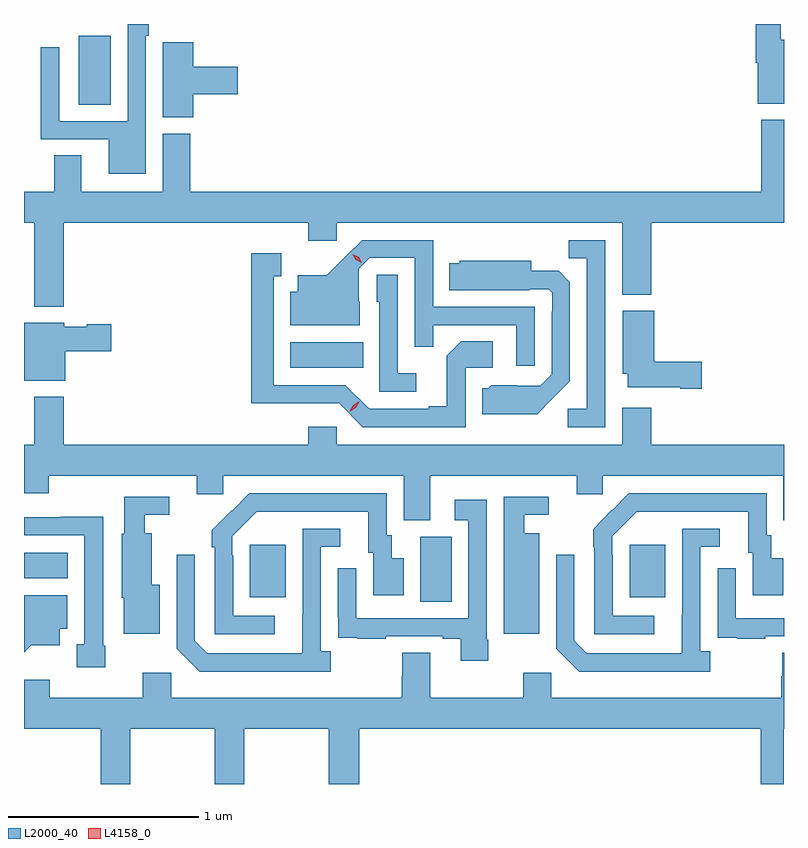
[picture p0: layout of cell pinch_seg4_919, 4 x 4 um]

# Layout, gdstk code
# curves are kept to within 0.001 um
import gdstk
lib = gdstk.Library(unit=1e-6, precision=1e-09)
def R(c, l, rs):  # rectangles x0, y0, x1, y1
    for r in rs: c.add(gdstk.rectangle(r[:2], r[2:], *l))
def P(c, l, *ps):  # polygons
    for p in ps: c.add(gdstk.Polygon(p, *l))
L2000_40 = (2000, 40)
L4158_0 = (4158, 0)

pinch_seg4_919 = lib.new_cell('pinch_seg4_919')
R(pinch_seg4_919, L2000_40, [(660.2,797.488,660.364,797.832), (659.303,797.513,659.491,797.788), (661.301,797.513,661.489,797.788), (658.114,797.612,658.345,797.746), (659.516,798.722,659.9,798.856), (658.403,800.104,658.57,800.467)])
P(pinch_seg4_919, L2000_40, [(662.114,800.446),(662.098,800.446),(662.098,800.53),(661.964,800.53),(661.964,800.325),(661.976,800.325),(661.976,800.111),(662.114,800.111)],
  [(658.755,800.468),(658.771,800.468),(658.771,800.53),(658.659,800.53),(658.659,800.019),(658.299,800.019),(658.299,800.407),(658.203,800.407),(658.203,799.923),(658.559,799.923),(658.559,799.742),(658.755,799.742)],
  [(659.006,800.159),(659.239,800.159),(659.239,800.306),(659.006,800.306),(659.006,800.434),(658.845,800.434),(658.845,800.321),(658.844,800.321),(658.844,800.038),(659.006,800.038)],
  [(658.322,799.484),(659.609,799.484),(659.609,799.389),(659.76,799.389),(659.76,799.484),(661.262,799.484),(661.262,799.106),(661.415,799.106),(661.415,799.484),(662.114,799.484),(662.114,800.026),(661.994,800.026),(661.994,799.648),(658.988,799.648),(658.988,799.953),(658.844,799.953),(658.844,799.648),(658.414,799.648),(658.414,799.838),(658.274,799.838),(658.274,799.648),(658.114,799.648),(658.114,799.484),(658.169,799.484),(658.169,799.043),(658.322,799.043)],
  [(661.173,799.392),(660.982,799.392),(660.982,799.297),(661.077,799.297),(661.077,798.504),(660.975,798.504),(660.975,798.408),(661.173,798.408)],
  [(660.801,799.041),(660.267,799.041),(660.267,799.392),(659.894,799.392),(659.707,799.207),(659.555,799.207),(659.555,799.12),(659.516,799.12),(659.516,798.944),(659.881,798.944),(659.881,799.068),(659.877,799.068),(659.877,799.242),(659.934,799.299),(660.171,799.299),(660.171,798.832),(660.269,798.832),(660.269,798.945),(660.705,798.945),(660.705,798.732),(660.801,798.732)],
  [(660.438,798.72),(660.58,798.72),(660.58,798.86),(660.415,798.86),(660.339,798.784),(660.339,798.517),(660.245,798.517),(660.245,798.504),(659.931,798.504),(659.805,798.63),(659.428,798.63),(659.428,799.203),(659.467,799.203),(659.467,799.324),(659.31,799.324),(659.31,798.533),(659.772,798.534),(659.898,798.408),(660.438,798.408)],
  [(660.895,798.557),(660.987,798.65),(660.987,799.172),(660.928,799.231),(660.784,799.231),(660.784,799.285),(660.408,799.285),(660.408,799.27),(660.352,799.27),(660.352,799.13),(660.776,799.13),(660.776,799.134),(660.876,799.134),(660.894,799.116),(660.894,799.016),(660.891,799.016),(660.891,798.687),(660.831,798.627),(660.574,798.628),(660.558,798.612),(660.527,798.612),(660.527,798.476),(660.815,798.476)],
  [(660.178,798.691),(660.081,798.691),(660.081,799.211),(659.97,799.211),(659.97,799.068),(659.985,799.068),(659.985,798.594),(660.178,798.594)],
  [(661.681,798.752),(661.432,798.752),(661.432,799.021),(661.265,799.021),(661.265,798.69),(661.292,798.69),(661.292,798.617),(661.568,798.617),(661.568,798.61),(661.681,798.61)],
  [(658.33,798.808),(658.573,798.808),(658.573,798.95),(658.443,798.95),(658.443,798.937),(658.326,798.937),(658.326,798.958),(658.114,798.958),(658.114,798.653),(658.33,798.653)],
  [(660.253,798.152),(661.022,798.152),(661.022,798.054),(661.161,798.054),(661.161,798.152),(662.111,798.152),(662.111,797.917),(662.114,797.917),(662.114,798.316),(661.415,798.316),(661.415,798.511),(661.262,798.511),(661.262,798.316),(659.76,798.316),(659.76,798.409),(659.609,798.409),(659.609,798.316),(658.322,798.316),(658.322,798.568),(658.169,798.568),(658.169,798.316),(658.114,798.316),(658.114,798.059),(658.245,798.059),(658.245,798.152),(659.024,798.152),(659.024,798.054),(659.163,798.054),(659.163,798.152),(660.113,798.152),(660.113,797.917),(660.253,797.917)],
  [(659.434,797.415),(659.214,797.415),(659.214,797.735),(659.211,797.735),(659.211,797.835),(659.34,797.964),(659.927,797.964),(659.927,797.748),(659.951,797.748),(659.951,797.523),(660.112,797.523),(660.112,797.719),(660.049,797.719),(660.049,797.838),(660.024,797.838),(660.024,798.06),(659.3,798.06),(659.103,797.865),(659.103,797.777),(659.118,797.777),(659.118,797.319),(659.434,797.319)],
  [(661.432,797.415),(661.212,797.415),(661.212,797.735),(661.209,797.735),(661.209,797.835),(661.338,797.964),(661.925,797.964),(661.925,797.748),(661.949,797.748),(661.949,797.523),(662.11,797.523),(662.11,797.719),(662.047,797.719),(662.047,797.838),(662.022,797.838),(662.022,798.06),(661.298,798.06),(661.207,797.969),(661.206,797.97),(661.109,797.872),(661.109,797.777),(661.116,797.777),(661.116,797.319),(661.432,797.319)],
  [(660.826,797.851),(660.748,797.851),(660.748,797.946),(660.877,797.946),(660.877,798.042),(660.639,798.042),(660.639,797.747),(660.638,797.747),(660.638,797.321),(660.826,797.321)],
  [(658.828,797.578),(658.786,797.578),(658.786,797.851),(658.75,797.851),(658.75,797.946),(658.879,797.946),(658.879,798.042),(658.641,798.042),(658.641,797.847),(658.628,797.847),(658.628,797.511),(658.64,797.511),(658.64,797.321),(658.828,797.321)],
  [(660.558,797.29),(660.549,797.29),(660.549,798.025),(660.381,798.025),(660.381,797.919),(660.453,797.919),(660.453,797.403),(659.862,797.403),(659.862,797.665),(659.766,797.665),(659.766,797.41),(659.767,797.41),(659.767,797.301),(659.869,797.301),(659.869,797.295),(660.017,797.295),(660.017,797.307),(660.317,797.307),(660.317,797.295),(660.413,797.295),(660.413,797.178),(660.558,797.178)],
  [(658.541,797.257),(658.531,797.257),(658.531,797.936),(658.308,797.936),(658.308,797.934),(658.114,797.934),(658.114,797.838),(658.43,797.838),(658.43,797.265),(658.391,797.265),(658.391,797.145),(658.541,797.145)],
  [(661.726,797.23),(661.674,797.23),(661.674,797.778),(661.777,797.778),(661.777,797.874),(661.578,797.874),(661.577,797.217),(661.077,797.217),(661.011,797.283),(661.011,797.737),(660.915,797.737),(660.915,797.241),(661.036,797.12),(661.726,797.12)],
  [(659.728,797.23),(659.676,797.23),(659.676,797.778),(659.779,797.778),(659.779,797.874),(659.58,797.874),(659.579,797.217),(659.079,797.217),(659.013,797.283),(659.013,797.737),(658.917,797.737),(658.917,797.241),(659.038,797.12),(659.728,797.12)],
  [(662.015,797.307),(662.114,797.307),(662.114,797.403),(661.86,797.403),(661.86,797.665),(661.764,797.665),(661.764,797.41),(661.765,797.41),(661.765,797.301),(661.867,797.301),(661.867,797.295),(662.015,797.295)],
  [(658.151,797.261),(658.303,797.261),(658.303,797.348),(658.342,797.348),(658.342,797.524),(658.114,797.524),(658.114,797.224)],
  [(658.674,796.82),(659.119,796.82),(659.119,796.53),(659.274,796.53),(659.274,796.82),(659.719,796.82),(659.719,796.53),(659.879,796.53),(659.879,796.82),(661.992,796.82),(661.992,796.53),(662.113,796.53),(662.113,796.82),(662.114,796.82),(662.114,797.222),(662.104,797.222),(662.104,797.097),(662.099,797.097),(662.099,796.984),(660.888,796.984),(660.888,797.116),(660.742,797.116),(660.742,796.984),(660.253,796.984),(660.253,797.222),(660.106,797.222),(660.106,797.097),(660.101,797.097),(660.101,796.984),(658.89,796.984),(658.89,797.116),(658.739,797.116),(658.739,796.984),(658.25,796.984),(658.25,797.08),(658.114,797.08),(658.114,796.82),(658.519,796.82),(658.519,796.53),(658.674,796.53)])
P(pinch_seg4_919, L4158_0, [(659.892,799.273),(659.861,799.289),(659.845,799.319),(659.845,799.319),(659.845,799.319),(659.875,799.303),(659.892,799.274),(659.892,799.273)],
  [(659.829,798.491),(659.829,798.491),(659.847,798.524),(659.878,798.544),(659.879,798.544),(659.879,798.543),(659.861,798.51),(659.83,798.491)])

lib.write_gds('pinch_seg4_919.gds')
